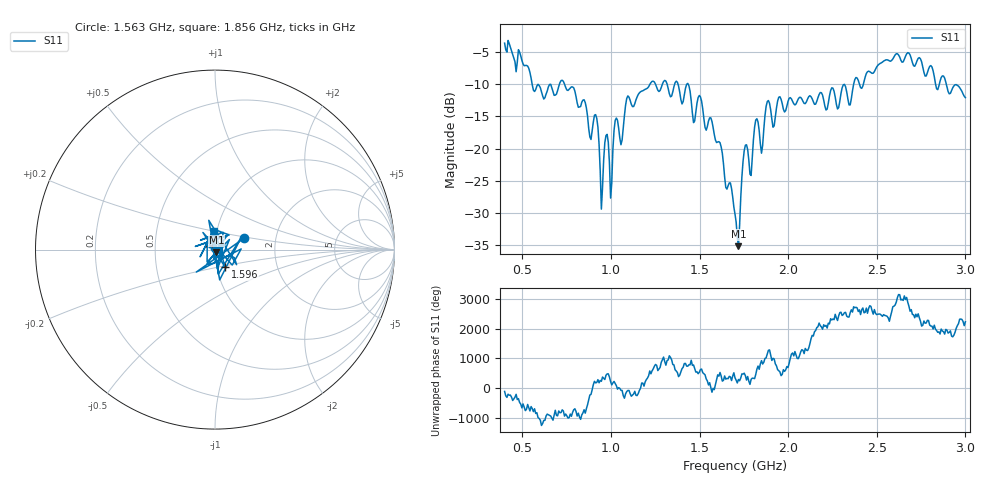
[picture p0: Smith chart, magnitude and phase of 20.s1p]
!Created with skrf (http://scikit-rf.org).
# Hz S RI R 50.0
!freq ReS11 ImS11
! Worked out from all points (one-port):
!   401 points, 400 MHz to 3 GHz, reference 50 ohm
!   lowest |S11| = -35.2 dB at 1.72 GHz (marker M1), VSWR 1.04, Z = 50.8 - j1.57 ohm
!   |S11| at or under -10 dB: 738.6 MHz to 1.219 GHz (480.9 MHz wide, 49.1 % of centre); 1.436 GHz to 2.317 GHz (880.3 MHz wide, 46.9 % of centre); 2.893 GHz to end of sweep (the widest 3 of 12)
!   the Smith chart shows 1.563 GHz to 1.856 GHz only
!   S11 on the Smith chart (normalised r, x): 1.563 GHz: 1.37, +0.18; 1.596 GHz: 1.10, -0.21; 1.856 GHz: 0.96, +0.21
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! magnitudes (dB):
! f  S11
! 400 MHz  -3.6
! 621 MHz  -12.3
! 725 MHz  -9.3
! 848.5 MHz  -12.4
! 881 MHz  -18.2
! 913.5 MHz  -14.7
! 946 MHz  -29.5
! 972 MHz  -18.0
! 998 MHz  -27.7
! 1.03 GHz  -15.2
! 1.05 GHz  -18.4
! 1.095 GHz  -11.8
! 1.375 GHz  -9.7
! 1.563 GHz  -15.2
! 1.596 GHz  -19.1
! 1.7 GHz  -30.2
! 1.72 GHz  -35.2
! 1.758 GHz  -19.5
! 1.791 GHz  -24.2
! 1.823 GHz  -15.3
! 1.856 GHz  -19.5
! 1.882 GHz  -12.7
! 1.915 GHz  -16.7
! 2.025 GHz  -12.6
! 2.35 GHz  -13.2
! 2.382 GHz  -8.9
! 2.675 GHz  -5.0
! 3 GHz  -12.1
